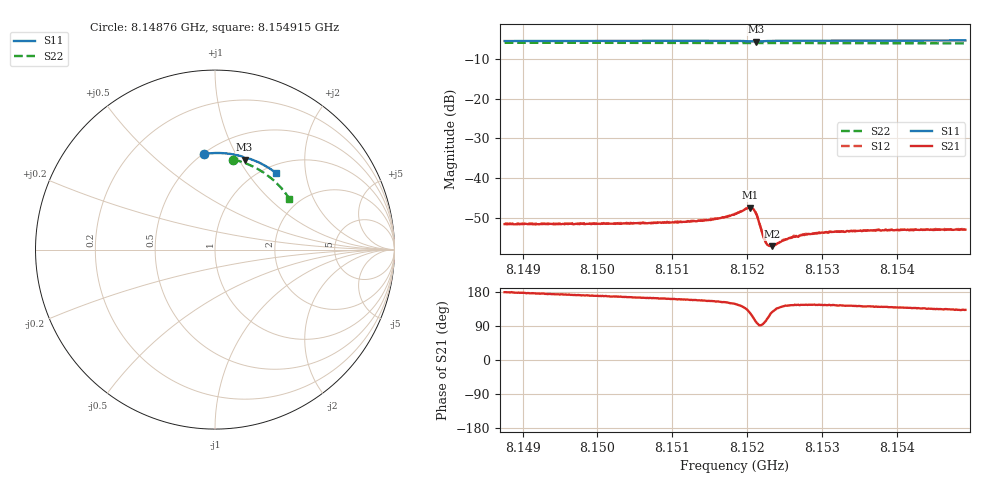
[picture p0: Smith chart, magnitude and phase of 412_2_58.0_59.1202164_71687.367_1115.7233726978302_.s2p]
#  HZ  S  RI  R  50.00
! Rohde & Schwarz Vector Network Analyzer
! Rohde-Schwarz,ZNB20-2Port,1311601062101988,3.16
! Created: UTC 3/21/2024, 1:08:47 AM
! freq[Hz]  re:S11  im:S11  re:S21  im:S21  re:S12  im:S12  re:S22  im:S22
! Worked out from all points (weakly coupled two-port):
!   401 points, 8.14876 GHz to 8.154915 GHz, reference 50 ohm
!   highest |S21| = -47.43 dB at 8.152037 GHz (marker M1); lowest = -57.2 dB at 8.15233 GHz (marker M2)
!   lowest |S11| = -5.5 dB at 8.152114 GHz (marker M3), VSWR 3.24, Z = 37.9 + j52.8 ohm
!   |S11| at or under -10 dB: nowhere
!   |S22| runs from -6.0 to -5.8 dB; largest |S21 - S12| = 0.00013
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8.1487601e9  -0.0605 0.5331  -0.00262 4.77e-05  -0.00269 0.00013  0.1021 0.5011
8.1497909e9  0.0112 0.5382  -0.00262 0.000441  -0.00261 0.000469  0.166 0.4823
8.1508218e9  0.083 0.5336  -0.00261 0.000854  -0.0026 0.000872  0.2266 0.4553
8.1511603e9  0.1064 0.5299  -0.00263 0.000956  -0.00262 0.00103  0.2455 0.4448
8.1514988e9  0.1301 0.5248  -0.0027 0.00122  -0.00273 0.00127  0.2639 0.4333
8.1516988e9  0.1445 0.5208  -0.00284 0.00148  -0.00282 0.00153  0.2746 0.4265
8.1518373e9  0.1548 0.5171  -0.00297 0.00185  -0.00298 0.00189  0.2817 0.4214
8.1519758e9  0.165 0.5103  -0.00295 0.0028  -0.00291 0.00284  0.2889 0.4159
8.1520373e9  0.1672 0.5053  -0.00239 0.00351  -0.00239 0.00356  0.2919 0.4137
8.1520835e9  0.1662 0.5022  -0.00145 0.00379  -0.00141 0.00381  0.2942 0.4119
8.1521142e9  0.1644 0.5019  -0.000729 0.00356  -0.000713 0.0036  0.2955 0.4108
8.152145e9  0.1638 0.5034  -0.00026 0.00302  -0.000192 0.00308  0.2971 0.4096
8.1522066e9  0.1662 0.5074  -0.000139 0.00193  -0.000104 0.00194  0.3001 0.4075
8.1522373e9  0.1687 0.5085  -0.000293 0.00159  -0.000284 0.00162  0.3017 0.4065
8.1522681e9  0.1713 0.509  -0.000472 0.00136  -0.000429 0.00137  0.3033 0.4051
8.1522989e9  0.1741 0.5093  -0.000644 0.00123  -0.000617 0.00124  0.3049 0.4041
8.1523296e9  0.1767 0.5094  -0.00081 0.00112  -0.000796 0.00114  0.3066 0.4029
8.1525912e9  0.1967 0.5048  -0.00146 0.00103  -0.00141 0.00105  0.3193 0.3921
8.1528682e9  0.2157 0.498  -0.00163 0.00111  -0.00163 0.00114  0.3326 0.3806
8.1531451e9  0.2339 0.4904  -0.00172 0.0012  -0.00167 0.00125  0.3451 0.3686
8.153899e9  0.2807 0.4666  -0.00166 0.00143  -0.00165 0.00148  0.3773 0.3337
8.1549145e9  0.3391 0.4279  -0.0015 0.00165  -0.00148 0.00169  0.415 0.2824
